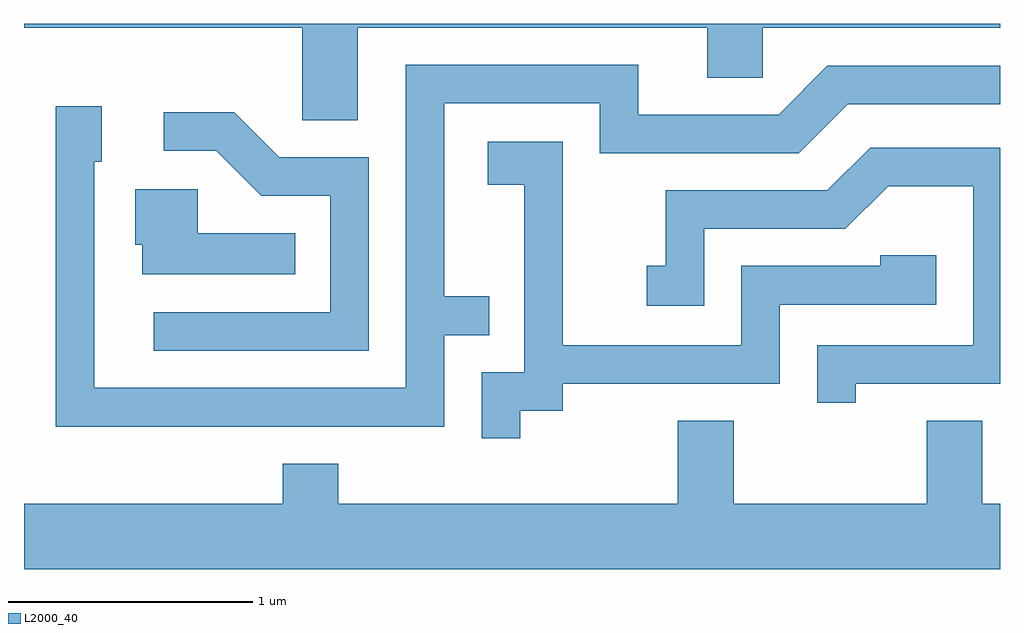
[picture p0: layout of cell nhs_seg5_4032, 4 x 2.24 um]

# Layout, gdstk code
import gdstk
lib = gdstk.Library(unit=1e-6, precision=1e-09)
def P(c, l, *ps):  # polygons
    for p in ps: c.add(gdstk.Polygon(p, *l))
L2000_40 = (2000, 40)

nhs_seg5_4032 = lib.new_cell('nhs_seg5_4032')
P(nhs_seg5_4032, L2000_40, [(304.979,1530.056),(306.411,1530.056),(306.411,1529.851),(306.639,1529.851),(306.639,1530.056),(307.611,1530.056),(307.611,1530.072),(303.611,1530.072),(303.611,1530.056),(304.751,1530.056),(304.751,1529.676),(304.979,1529.676)],
  [(305.334,1528.796),(305.518,1528.796),(305.518,1528.954),(305.334,1528.954),(305.334,1529.746),(305.971,1529.746),(305.971,1529.541),(306.787,1529.541),(306.987,1529.741),(307.611,1529.741),(307.611,1529.899),(306.904,1529.899),(306.704,1529.699),(306.129,1529.699),(306.129,1529.904),(305.176,1529.904),(305.176,1528.579),(303.899,1528.579),(303.899,1529.506),(303.929,1529.506),(303.929,1529.734),(303.741,1529.734),(303.741,1528.421),(305.334,1528.421)],
  [(305.024,1529.524),(304.657,1529.524),(304.472,1529.709),(304.183,1529.709),(304.183,1529.551),(304.399,1529.551),(304.584,1529.366),(304.866,1529.366),(304.866,1528.889),(304.143,1528.889),(304.143,1528.731),(305.024,1528.731)],
  [(305.644,1528.486),(305.819,1528.486),(305.819,1528.596),(306.709,1528.596),(306.709,1528.921),(307.349,1528.921),(307.349,1529.124),(307.121,1529.124),(307.121,1529.079),(306.551,1529.079),(306.551,1528.754),(305.819,1528.754),(305.819,1529.589),(305.511,1529.589),(305.511,1529.411),(305.661,1529.411),(305.661,1528.644),(305.486,1528.644),(305.486,1528.373),(305.644,1528.373)],
  [(307.019,1528.596),(307.611,1528.596),(307.611,1529.564),(307.079,1529.564),(306.904,1529.389),(306.241,1529.389),(306.241,1529.079),(306.163,1529.079),(306.163,1528.916),(306.399,1528.916),(306.399,1529.231),(306.977,1529.231),(307.152,1529.406),(307.501,1529.406),(307.501,1528.754),(306.861,1528.754),(306.861,1528.518),(307.019,1528.518)],
  [(304.723,1529.214),(304.324,1529.214),(304.324,1529.394),(304.066,1529.394),(304.066,1529.166),(304.096,1529.166),(304.096,1529.046),(304.723,1529.046)],
  [(307.611,1528.104),(307.539,1528.104),(307.539,1528.444),(307.311,1528.444),(307.311,1528.104),(306.519,1528.104),(306.519,1528.444),(306.291,1528.444),(306.291,1528.104),(304.899,1528.104),(304.899,1528.269),(304.671,1528.269),(304.671,1528.104),(303.611,1528.104),(303.611,1527.836),(307.611,1527.836)])

lib.write_gds('nhs_seg5_4032.gds')
